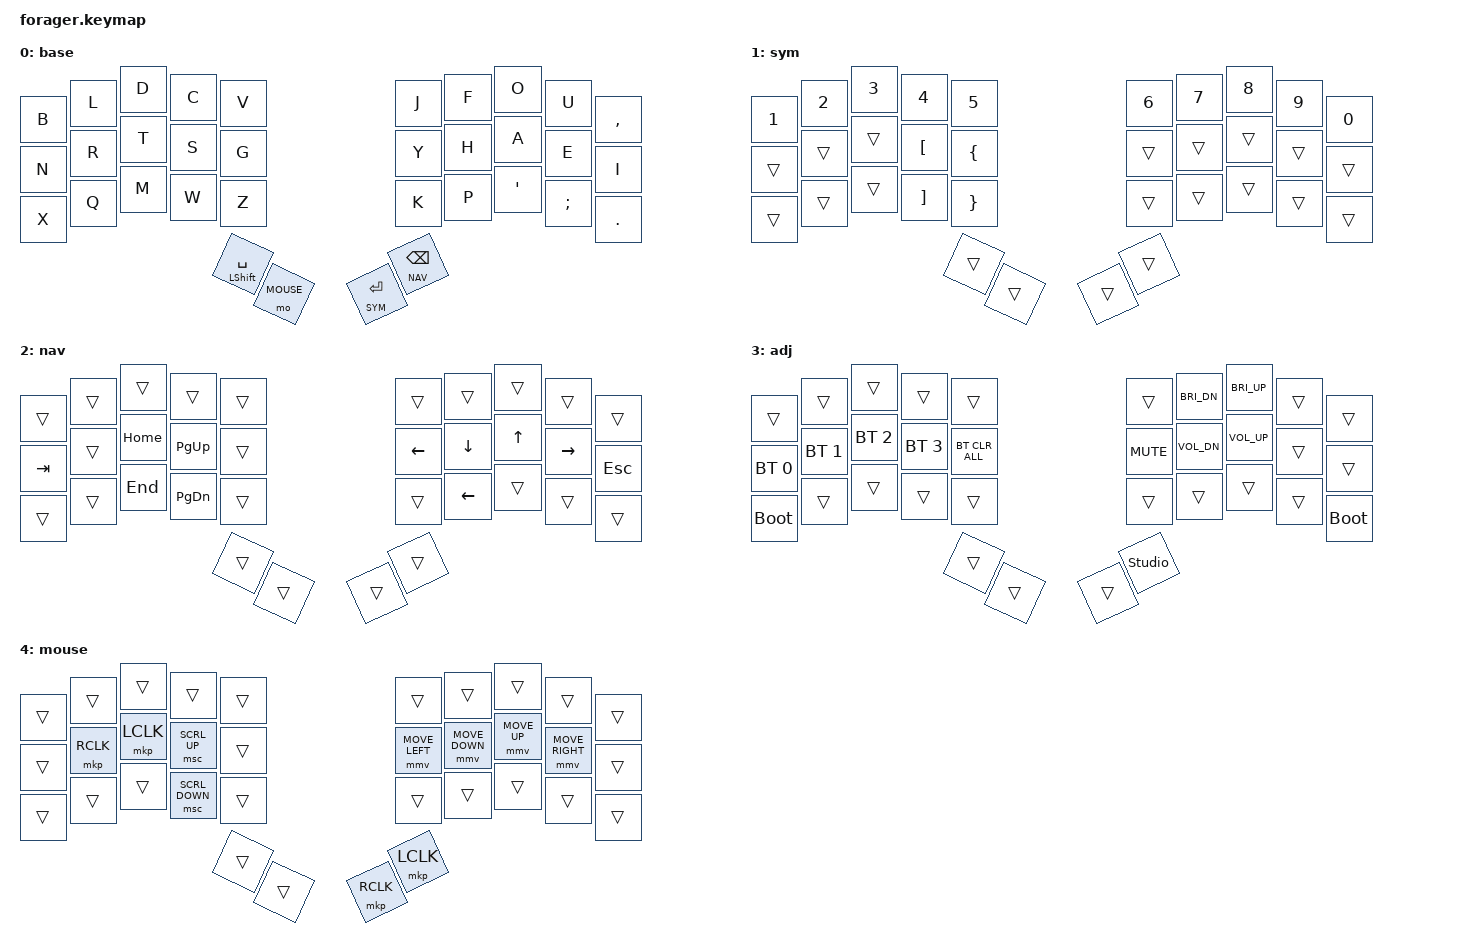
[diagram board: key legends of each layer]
#include <behaviors.dtsi>
#include <dt-bindings/zmk/keys.h>
#include <dt-bindings/zmk/bt.h>
#include <dt-bindings/zmk/outputs.h>
#include <dt-bindings/zmk/pointing.h>

#define BASE 0
#define SYM  1
#define NAV  2
#define ADJ  3
#define MOUSE 4

&lt {
    require-prior-idle-ms = <100>;
    tapping-term-ms = <200>;
    quick-tap-ms = <200>;
    flavor = "tap-preferred";
};

&mt {
    quick-tap-ms = <200>;
};

/ {
    combos {
        //  0  1  2  3  4      5  6  7  8  9
        // 10 11 12 13 14     15 16 17 18 19
        // 20 21 22 23 24     25 26 27 28 29
        //          30 31     32 33

        compatible = "zmk,combos";

        // Home row mods (left)
        combo_lctrl {
            timeout-ms = <50>;
            layers = <0>;
            key-positions = <12 13>;
            bindings = <&kp LCTRL>;
        };
        combo_lgui {
            timeout-ms = <50>;
            layers = <0>;
            key-positions = <11 12>;
            bindings = <&kp LGUI>;
        };
        combo_lalt {
            timeout-ms = <50>;
            layers = <0>;
            key-positions = <10 11>;
            bindings = <&kp LALT>;
        };
        combo_lshift_lctrl {
            timeout-ms = <50>;
            layers = <0>;
            key-positions = <11 12 13>;
            bindings = <&kp LS(LCTRL)>;
        };
        combo_lshift_lgui {
            timeout-ms = <50>;
            layers = <0>;
            key-positions = <10 11 12>;
            bindings = <&kp LS(LGUI)>;
        };

        // Home row mods (right)
        combo_rctrl {
            timeout-ms = <50>;
            layers = <0>;
            key-positions = <16 17>;
            bindings = <&kp RCTRL>;
        };
        combo_rgui {
            timeout-ms = <50>;
            layers = <0>;
            key-positions = <17 18>;
            bindings = <&kp RGUI>;
        };
        combo_ralt {
            timeout-ms = <50>;
            layers = <0>;
            key-positions = <18 19>;
            bindings = <&kp RALT>;
        };
        combo_rshift_rctrl {
            timeout-ms = <50>;
            layers = <0>;
            key-positions = <16 17 18>;
            bindings = <&kp RS(RCTRL)>;
        };
        combo_rshift_rgui {
            timeout-ms = <50>;
            layers = <0>;
            key-positions = <17 18 19>;
            bindings = <&kp RS(RGUI)>;
        };

        // Layers
        combo_sl_adj {
            layers = <0>;
            key-positions = <0 1 2 3>;
            bindings = <&sl ADJ>;
        };

        // Keypresses
        combo_esc {
            timeout-ms = <50>;
            layers = <0>;
            key-positions = <30 33>;
            bindings = <&kp ESC>;
        };
        combo_studio_unlock {
            timeout-ms = <50>;
            layers = <0>;
            key-positions = <8 9>;
            bindings = <&studio_unlock>;
        };
    };

    keymap {
        compatible = "zmk,keymap";

        base {
            bindings = <
            &kp B  &kp L  &kp D  &kp C            &kp V                   &kp J        &kp F         &kp O      &kp U       &kp COMMA
            &kp N  &kp R  &kp T  &kp S            &kp G                   &kp Y        &kp H         &kp A      &kp E       &kp I
            &kp X  &kp Q  &kp M  &kp W            &kp Z                   &kp K        &kp P         &kp SQT    &kp SEMI    &kp DOT
                                 &mt LSHIFT SPACE &mo MOUSE               &lt SYM RET  &lt NAV BSPC
            >;
        };

        sym {
            bindings = <
            &kp N1  &kp N2  &kp N3  &kp N4    &kp N5                &kp N6  &kp N7  &kp N8  &kp N9  &kp N0
            &trans  &trans  &trans  &kp LBKT  &kp LBRC              &trans  &trans  &trans  &trans  &trans
            &trans  &trans  &trans  &kp RBKT  &kp RBRC              &trans  &trans  &trans  &trans  &trans
                                    &trans    &trans                &trans  &trans
            >;
        };

        nav {
            bindings = <
            &trans  &trans &trans   &trans    &trans               &trans    &trans    &trans  &trans    &trans
            &kp TAB &trans &kp HOME &kp PG_UP &trans               &kp LEFT  &kp DOWN  &kp UP  &kp RIGHT &kp ESC
            &trans  &trans &kp END  &kp PG_DN &trans               &trans    &kp LEFT  &trans  &trans    &trans
                                    &trans    &trans               &trans    &trans
            >;
        };

        adj {
            bindings = <
            &trans          &trans          &trans          &trans          &trans                  &trans      &kp C_BRI_DN  &kp C_BRI_UP  &trans  &trans
            &bt BT_SEL 0    &bt BT_SEL 1    &bt BT_SEL 2    &bt BT_SEL 3    &bt BT_CLR_ALL          &kp C_MUTE  &kp C_VOL_DN  &kp C_VOL_UP  &trans  &trans
            &bootloader     &trans          &trans          &trans          &trans                  &trans      &trans        &trans        &trans  &bootloader
                                                            &trans          &trans                  &trans      &studio_unlock
            >;
        };

        mouse {
            bindings = <
            &trans &trans    &trans    &trans         &trans         &trans         &trans         &trans       &trans          &trans
            &trans &mkp RCLK &mkp LCLK &msc SCRL_UP   &trans         &mmv MOVE_LEFT &mmv MOVE_DOWN &mmv MOVE_UP &mmv MOVE_RIGHT &trans
            &trans &trans    &trans    &msc SCRL_DOWN &trans         &trans         &trans         &trans       &trans          &trans
                                       &trans         &trans         &mkp RCLK      &mkp LCLK
            >;
        };
    };
};
